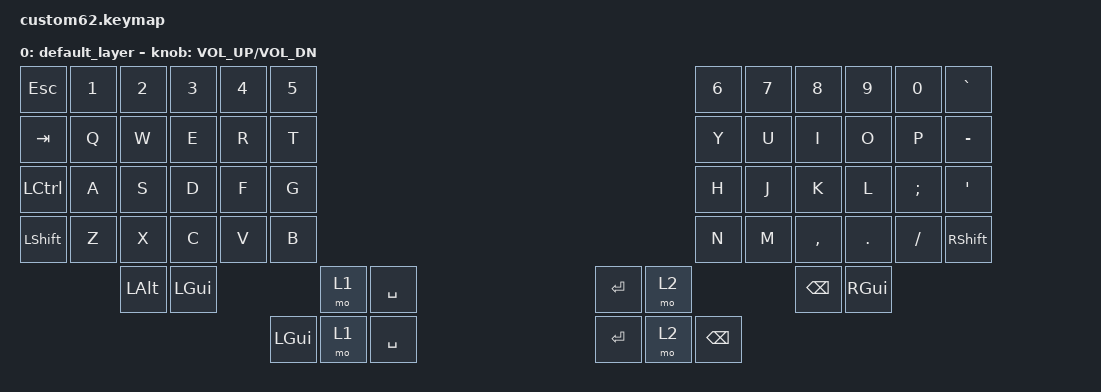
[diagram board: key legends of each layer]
/*
 * Copyright (c) 2020 The ZMK Contributors
 *
 * SPDX-License-Identifier: MIT
 */

#include <behaviors.dtsi>
#include <dt-bindings/zmk/keys.h>
#include <dt-bindings/zmk/bt.h>
#include <dt-bindings/zmk/ext_power.h>

/ {
    keymap {
        compatible = "zmk,keymap";

        default_layer {
// ------------------------------------------------------------------------------------------------------------
// |  ESC  |  1  |  2  |  3   |  4    |  5    |                                 |  6    |  7    |  8    |  9   |   0   |   `   |
// |  TAB  |  Q  |  W  |  E   |  R    |  T    |                                 |  Y    |  U    |  I    |  O   |   P   |   -   |
// |  CTRL |  A  |  S  |  D   |  F    |  G    |                                 |  H    |  J    |  K    |  L   |   ;   |   '   |
// | SHIFT |  Z  |  X  |  C   |  V    |  B    |                                 |  N    |  M    |  ,    |  .   |   /   | SHIFT |
//               | ALT | GUI  |               | LOWER|  SPACE |  | ENTER | RAISE|               | BSPC  | GUI  |
//                     | GUI  | LOWER | SPACE |                                 | ENTER | RAISE | BSPC  |
            bindings = <
&kp ESC   &kp N1 &kp N2   &kp N3   &kp N4 &kp N5                                 &kp N6   &kp N7 &kp N8    &kp N9  &kp N0   &kp GRAVE
&kp TAB   &kp Q  &kp W    &kp E    &kp R  &kp T                                  &kp Y    &kp U  &kp I     &kp O   &kp P    &kp MINUS
&kp LCTRL &kp A  &kp S    &kp D    &kp F  &kp G                                  &kp H    &kp J  &kp K     &kp L   &kp SEMI &kp SQT
&kp LSHFT &kp Z  &kp X    &kp C    &kp V  &kp B                                  &kp N    &kp M  &kp COMMA &kp DOT &kp FSLH &kp RSHFT
                 &kp LALT &kp LGUI              &mo 1  &kp SPACE  &kp RET  &mo 2                 &kp BSPC  &kp RGUI
                          &kp LGUI &mo 1  &kp SPACE                              &kp RET  &mo 2  &kp BSPC
            >;

            sensor-bindings = <&inc_dec_kp C_VOL_UP C_VOL_DN>;
        };       
    };
};
